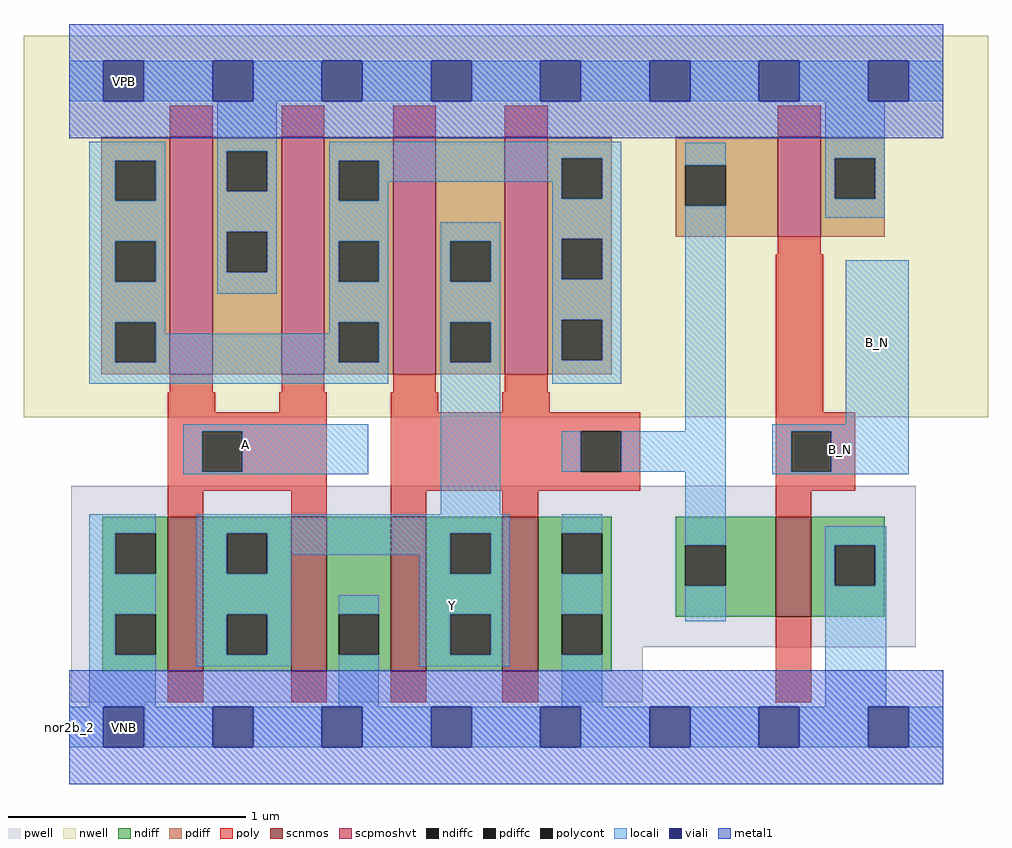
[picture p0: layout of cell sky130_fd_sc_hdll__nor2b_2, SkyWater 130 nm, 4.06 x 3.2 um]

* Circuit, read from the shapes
.subckt sky130_fd_sc_hdll__nor2b_2 A B_N VGND VNB VPB VPWR Y
XM1 Y A VGND VNB sky130_fd_pr__nfet_01v8 w=0.65 l=0.15 m=2
XM2 Y n1 VGND VNB sky130_fd_pr__nfet_01v8 w=0.65 l=0.15 m=2
XM3 VGND B_N n1 VNB sky130_fd_pr__nfet_01v8 w=0.42 l=0.15
XM4 VPWR A n2 VPB sky130_fd_pr__pfet_01v8_hvt w=1 l=0.18 m=2
XM5 Y n1 n2 VPB sky130_fd_pr__pfet_01v8_hvt w=1 l=0.18 m=2
XM6 VPWR B_N n1 VPB sky130_fd_pr__pfet_01v8_hvt w=0.42 l=0.18
.ends

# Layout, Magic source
magic
tech sky130A
magscale 1 2
<< nwell >>
rect -38 261 774 582
<< pwell >>
rect 2 67 713 203
rect 2 21 483 67
rect 30 -17 64 21
<< scnmos >>
rect 83 47 113 177
rect 187 47 217 177
rect 271 47 301 177
rect 365 47 395 177
rect 595 93 625 177
<< scpmoshvt >>
rect 85 297 121 497
rect 179 297 215 497
rect 273 297 309 497
rect 367 297 403 497
rect 597 413 633 497
<< ndiff >>
rect 28 163 83 177
rect 28 129 39 163
rect 73 129 83 163
rect 28 95 83 129
rect 28 61 39 95
rect 73 61 83 95
rect 28 47 83 61
rect 113 163 187 177
rect 113 129 133 163
rect 167 129 187 163
rect 113 95 187 129
rect 113 61 133 95
rect 167 61 187 95
rect 113 47 187 61
rect 217 95 271 177
rect 217 61 227 95
rect 261 61 271 95
rect 217 47 271 61
rect 301 163 365 177
rect 301 129 321 163
rect 355 129 365 163
rect 301 95 365 129
rect 301 61 321 95
rect 355 61 365 95
rect 301 47 365 61
rect 395 163 457 177
rect 395 129 415 163
rect 449 129 457 163
rect 395 95 457 129
rect 395 61 415 95
rect 449 61 457 95
rect 511 153 595 177
rect 511 119 519 153
rect 553 119 595 153
rect 511 93 595 119
rect 625 153 687 177
rect 625 119 645 153
rect 679 119 687 153
rect 625 93 687 119
rect 395 47 457 61
<< pdiff >>
rect 27 477 85 497
rect 27 443 39 477
rect 73 443 85 477
rect 27 409 85 443
rect 27 375 39 409
rect 73 375 85 409
rect 27 341 85 375
rect 27 307 39 341
rect 73 307 85 341
rect 27 297 85 307
rect 121 485 179 497
rect 121 451 133 485
rect 167 451 179 485
rect 121 417 179 451
rect 121 383 133 417
rect 167 383 179 417
rect 121 297 179 383
rect 215 477 273 497
rect 215 443 227 477
rect 261 443 273 477
rect 215 409 273 443
rect 215 375 227 409
rect 261 375 273 409
rect 215 341 273 375
rect 215 307 227 341
rect 261 307 273 341
rect 215 297 273 307
rect 309 409 367 497
rect 309 375 321 409
rect 355 375 367 409
rect 309 341 367 375
rect 309 307 321 341
rect 355 307 367 341
rect 309 297 367 307
rect 403 479 457 497
rect 403 445 415 479
rect 449 445 457 479
rect 403 411 457 445
rect 511 473 597 497
rect 511 439 519 473
rect 553 439 597 473
rect 511 413 597 439
rect 633 479 687 497
rect 633 445 645 479
rect 679 445 687 479
rect 633 413 687 445
rect 403 377 415 411
rect 449 377 457 411
rect 403 343 457 377
rect 403 309 415 343
rect 449 309 457 343
rect 403 297 457 309
<< ndiffc >>
rect 39 129 73 163
rect 39 61 73 95
rect 133 129 167 163
rect 133 61 167 95
rect 227 61 261 95
rect 321 129 355 163
rect 321 61 355 95
rect 415 129 449 163
rect 415 61 449 95
rect 519 119 553 153
rect 645 119 679 153
<< pdiffc >>
rect 39 443 73 477
rect 39 375 73 409
rect 39 307 73 341
rect 133 451 167 485
rect 133 383 167 417
rect 227 443 261 477
rect 227 375 261 409
rect 227 307 261 341
rect 321 375 355 409
rect 321 307 355 341
rect 415 445 449 479
rect 519 439 553 473
rect 645 445 679 479
rect 415 377 449 411
rect 415 309 449 343
<< poly >>
rect 85 497 121 523
rect 179 497 215 523
rect 273 497 309 523
rect 367 497 403 523
rect 597 497 633 523
rect 597 398 633 413
rect 85 282 121 297
rect 179 282 215 297
rect 273 282 309 297
rect 367 282 403 297
rect 83 265 123 282
rect 177 265 217 282
rect 83 249 217 265
rect 83 215 112 249
rect 146 215 217 249
rect 83 199 217 215
rect 83 177 113 199
rect 187 177 217 199
rect 271 265 311 282
rect 365 265 405 282
rect 595 265 635 398
rect 271 249 481 265
rect 271 215 431 249
rect 465 215 481 249
rect 271 199 481 215
rect 595 249 662 265
rect 595 215 608 249
rect 642 215 662 249
rect 595 199 662 215
rect 271 177 301 199
rect 365 177 395 199
rect 595 177 625 199
rect 83 21 113 47
rect 187 21 217 47
rect 271 21 301 47
rect 365 21 395 47
rect 595 21 625 93
<< polycont >>
rect 112 215 146 249
rect 431 215 465 249
rect 608 215 642 249
<< locali >>
rect 0 527 29 561
rect 63 527 121 561
rect 155 527 213 561
rect 247 527 305 561
rect 339 527 397 561
rect 431 527 489 561
rect 523 527 581 561
rect 615 527 673 561
rect 707 527 736 561
rect 17 477 81 493
rect 17 443 39 477
rect 73 443 81 477
rect 17 409 81 443
rect 17 375 39 409
rect 73 375 81 409
rect 17 341 81 375
rect 125 485 175 527
rect 125 451 133 485
rect 167 451 175 485
rect 125 417 175 451
rect 125 383 133 417
rect 167 383 175 417
rect 125 365 175 383
rect 219 479 465 493
rect 219 477 415 479
rect 219 443 227 477
rect 261 459 415 477
rect 261 443 269 459
rect 219 409 269 443
rect 407 445 415 459
rect 449 445 465 479
rect 219 375 227 409
rect 261 375 269 409
rect 17 307 39 341
rect 73 331 81 341
rect 219 341 269 375
rect 219 331 227 341
rect 73 307 227 331
rect 261 307 269 341
rect 17 289 269 307
rect 313 409 363 425
rect 313 375 321 409
rect 355 375 363 409
rect 313 341 363 375
rect 313 307 321 341
rect 355 307 363 341
rect 96 249 252 255
rect 96 215 112 249
rect 146 215 252 249
rect 96 213 252 215
rect 313 179 363 307
rect 407 411 465 445
rect 407 377 415 411
rect 449 377 465 411
rect 407 343 465 377
rect 407 309 415 343
rect 449 309 465 343
rect 407 289 465 309
rect 519 473 553 492
rect 519 249 553 439
rect 637 479 687 527
rect 637 445 645 479
rect 679 445 687 479
rect 637 429 687 445
rect 654 255 707 393
rect 415 215 431 249
rect 465 215 553 249
rect 17 163 73 179
rect 17 129 39 163
rect 17 95 73 129
rect 17 61 39 95
rect 17 17 73 61
rect 107 163 371 179
rect 107 129 133 163
rect 167 145 321 163
rect 167 129 187 145
rect 107 95 187 129
rect 295 129 321 145
rect 355 129 371 163
rect 107 61 133 95
rect 167 61 187 95
rect 107 51 187 61
rect 227 95 261 111
rect 227 17 261 61
rect 295 95 371 129
rect 295 61 321 95
rect 355 61 371 95
rect 295 51 371 61
rect 415 163 449 179
rect 415 95 449 129
rect 519 153 553 215
rect 592 249 707 255
rect 592 215 608 249
rect 642 215 707 249
rect 592 213 707 215
rect 519 89 553 119
rect 637 153 688 169
rect 637 119 645 153
rect 679 119 688 153
rect 415 17 449 61
rect 637 17 688 119
rect 0 -17 29 17
rect 63 -17 121 17
rect 155 -17 213 17
rect 247 -17 305 17
rect 339 -17 397 17
rect 431 -17 489 17
rect 523 -17 581 17
rect 615 -17 673 17
rect 707 -17 736 17
<< viali >>
rect 29 527 63 561
rect 121 527 155 561
rect 213 527 247 561
rect 305 527 339 561
rect 397 527 431 561
rect 489 527 523 561
rect 581 527 615 561
rect 673 527 707 561
rect 29 -17 63 17
rect 121 -17 155 17
rect 213 -17 247 17
rect 305 -17 339 17
rect 397 -17 431 17
rect 489 -17 523 17
rect 581 -17 615 17
rect 673 -17 707 17
<< metal1 >>
rect 0 561 736 592
rect 0 527 29 561
rect 63 527 121 561
rect 155 527 213 561
rect 247 527 305 561
rect 339 527 397 561
rect 431 527 489 561
rect 523 527 581 561
rect 615 527 673 561
rect 707 527 736 561
rect 0 496 736 527
rect 0 17 736 48
rect 0 -17 29 17
rect 63 -17 121 17
rect 155 -17 213 17
rect 247 -17 305 17
rect 339 -17 397 17
rect 431 -17 489 17
rect 523 -17 581 17
rect 615 -17 673 17
rect 707 -17 736 17
rect 0 -48 736 -17
<< labels >>
flabel locali s 654 255 707 393 0 FreeSans 400 0 0 0 B_N
port 2 nsew signal input
flabel locali s 132 221 166 255 0 FreeSans 400 0 0 0 A
port 1 nsew signal input
flabel locali s 306 85 340 119 0 FreeSans 400 0 0 0 Y
port 7 nsew signal output
flabel nwell s 30 527 64 561 0 FreeSans 200 0 0 0 VPB
port 5 nsew power bidirectional
flabel pwell s 30 -17 64 17 0 FreeSans 200 0 0 0 VNB
port 4 nsew ground bidirectional
flabel metal1 s 30 -17 64 17 0 FreeSans 200 0 0 0 VGND
port 3 nsew ground bidirectional
flabel metal1 s 30 527 64 561 0 FreeSans 200 0 0 0 VPWR
port 6 nsew power bidirectional
rlabel comment s 0 0 0 0 4 nor2b_2
rlabel locali s 592 213 707 255 1 B_N
port 2 nsew signal input
<< properties >>
string LEFsite unithd
string LEFclass CORE
string FIXED_BBOX 0 0 736 544
string GDS_FILE $PDKPATH/libs.ref/sky130_fd_sc_hdll/gds/sky130_fd_sc_hdll.gds
string LEFsymmetry X Y R90
string GDS_END 2350318
string GDS_START 2344148
string LEFproperties maskLayoutSubType "abstract" prCellType "standard" originalViewName "layout"
<< end >>
